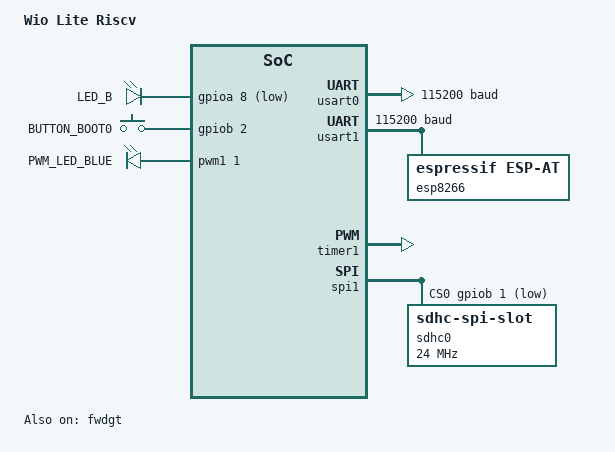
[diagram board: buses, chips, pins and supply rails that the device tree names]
/*
 * Copyright (c) 2023 Tada, Hiroki <hirokin18931@gmail.com>
 *
 * SPDX-License-Identifier: Apache-2.0
 */

/dts-v1/;
#include <gd/gd32vf103Xb.dtsi>
#include "wio_lite_riscv-pinctrl.dtsi"

/ {
	model = "Wio Lite Riscv";
	compatible = "seeed,wio_lite_riscv";

	chosen {
		zephyr,console = &usart0;
		zephyr,shell-uart = &usart0;
		zephyr,sram = &sram0;
		zephyr,flash = &flash0;
		sdhc0 = &sdhc0;
	};

	leds {
		compatible = "gpio-leds";
		led_blue: led_blue {
			gpios = <&gpioa 8 GPIO_ACTIVE_LOW>;
			label = "LED_B";
		};
	};

	gpio_keys {
		compatible = "gpio-keys";
		button_boot0: button_boot0 {
			label = "BUTTON_BOOT0";
			gpios = <&gpiob 2 GPIO_ACTIVE_HIGH>;
		};
	};

	pwmleds {
		compatible = "pwm-leds";

		/* NOTE: bridge TIMER0_CH0 and LED_BLUE (PA8) */
		pwm_led_blue: pwm_led_green {
			pwms = <&pwm1 1 PWM_MSEC(20) PWM_POLARITY_NORMAL>;
			label = "PWM_LED_BLUE";
		};
	};

	aliases {
		led0 = &led_blue;
		pwm-led0 = &pwm_led_blue;
		sw0 = &button_boot0;
		watchdog0 = &fwdgt;
	};
};

&gpioa {
	status = "okay";
};

&gpiob {
	status = "okay";
};

&gpioc {
	status = "okay";
};

&usart0 {
	status = "okay";
	current-speed = <115200>;
	pinctrl-0 = <&usart0_default>;
	pinctrl-names = "default";
};

&usart1 {
	current-speed = <115200>;

	pinctrl-0 = <&usart1_esp_wifi>;
	pinctrl-names = "default";

	esp8266 {
		compatible = "espressif,esp-at";
		status = "okay";
	};
};

&timer1 {
	status = "okay";
	prescaler = <4096>;

	pwm1: pwm {
		status = "okay";
		pinctrl-0 = <&pwm1_default>;
		pinctrl-names = "default";
	};
};

&spi1 {
	status = "okay";
	pinctrl-0 = <&spi1_default>;
	pinctrl-names = "default";

	cs-gpios = <&gpiob 1 GPIO_ACTIVE_LOW>;

	sdhc0: sdhc@0 {
		compatible = "zephyr,sdhc-spi-slot";
		reg = <0>;
		status = "okay";
		spi-max-frequency = <24000000>;
		mmc {
			compatible = "zephyr,sdmmc-disk";
			status = "okay";
		};
	};
};

&fwdgt {
	status = "okay";
};
